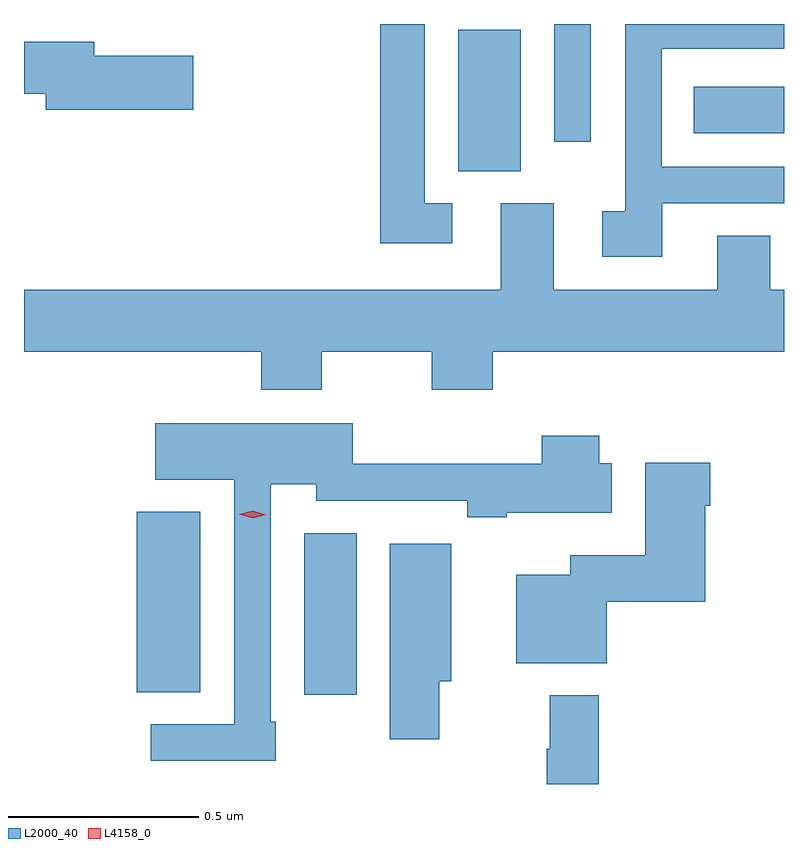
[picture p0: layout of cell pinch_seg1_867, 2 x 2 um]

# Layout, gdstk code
import gdstk
lib = gdstk.Library(unit=1e-6, precision=1e-09)
def R(c, l, rs):  # rectangles x0, y0, x1, y1
    for r in rs: c.add(gdstk.rectangle(r[:2], r[2:], *l))
def P(c, l, *ps):  # polygons
    for p in ps: c.add(gdstk.Polygon(p, *l))
L2000_40 = (2000, 40)
L4158_0 = (4158, 0)

pinch_seg1_867 = lib.new_cell('pinch_seg1_867')
R(pinch_seg1_867, L2000_40, [(477.935,573.474,478.072,573.899), (477.494,573.481,477.661,573.955), (478.34,574.852,478.504,575.224), (478.593,574.929,478.689,575.239), (478.96,574.952,479.197,575.074)])
P(pinch_seg1_867, L2000_40, [(478.876,574.767),(479.197,574.767),(479.197,574.863),(478.875,574.863),(478.875,575.174),(479.197,575.174),(479.197,575.239),(478.779,575.239),(478.779,574.746),(478.719,574.746),(478.719,574.626),(478.876,574.626)],
  [(478.324,574.767),(478.251,574.767),(478.251,575.239),(478.135,575.239),(478.135,574.662),(478.324,574.662)],
  [(477.643,575.156),(477.382,575.156),(477.382,575.192),(477.197,575.192),(477.197,575.056),(477.254,575.056),(477.254,575.014),(477.643,575.014)],
  [(477.981,574.376),(478.27,574.376),(478.27,574.277),(478.43,574.277),(478.43,574.376),(479.197,574.376),(479.197,574.54),(479.161,574.54),(479.161,574.682),(479.021,574.682),(479.021,574.54),(478.591,574.54),(478.591,574.767),(478.451,574.767),(478.451,574.54),(477.197,574.54),(477.197,574.376),(477.821,574.376),(477.821,574.277),(477.981,574.277)],
  [(477.859,573.403),(477.846,573.403),(477.846,574.028),(477.966,574.028),(477.966,573.984),(478.364,573.984),(478.364,573.941),(478.468,573.941),(478.468,573.953),(478.744,573.953),(478.744,574.083),(478.711,574.083),(478.711,574.156),(478.559,574.156),(478.559,574.082),(478.062,574.082),(478.062,574.189),(477.543,574.189),(477.543,574.04),(477.75,574.04),(477.75,573.396),(477.531,573.396),(477.531,573.3),(477.859,573.3)],
  [(478.731,573.719),(478.99,573.719),(478.99,573.971),(479.003,573.971),(479.003,574.084),(478.832,574.084),(478.832,573.841),(478.635,573.841),(478.635,573.79),(478.493,573.79),(478.493,573.557),(478.731,573.557)],
  [(478.29,573.509),(478.321,573.509),(478.321,573.871),(478.16,573.871),(478.16,573.357),(478.29,573.357)],
  [(478.709,573.472),(478.581,573.472),(478.581,573.332),(478.573,573.332),(478.573,573.239),(478.709,573.239)])
P(pinch_seg1_867, L4158_0, [(477.799,573.938),(477.764,573.949),(477.764,573.949),(477.764,573.949),(477.799,573.958),(477.833,573.948),(477.834,573.948),(477.833,573.948)])

lib.write_gds('pinch_seg1_867.gds')
